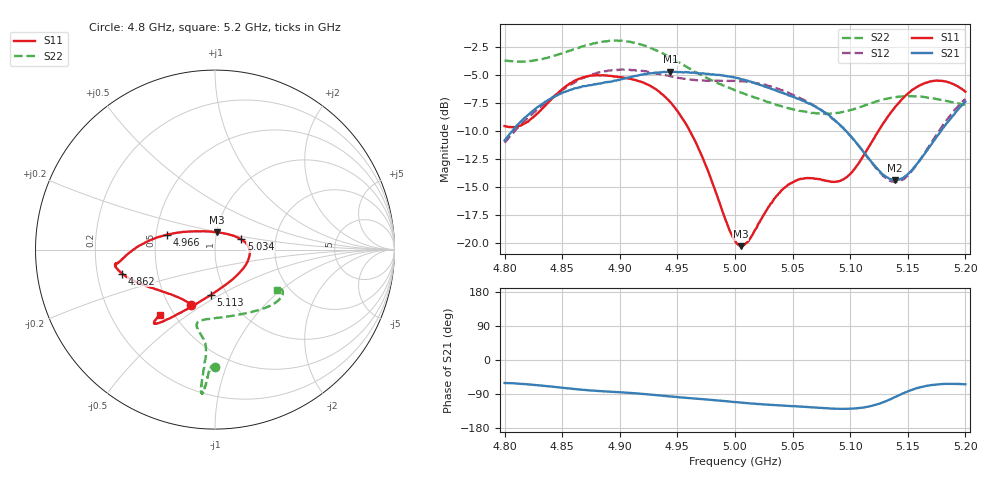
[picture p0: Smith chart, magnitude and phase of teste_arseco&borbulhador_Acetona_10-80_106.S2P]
! Network Analyzer HP8722D
! Hewlett-Packard
! Data name: Linha & Wilkinson
! Saver's name: Rodrigo Anjos
! Comments: Teste da utilização de aquisição
! continua pelo VNA HP8722D
! Time and date: 17/4/2025 15:14
!  Frequency  S11  S21  S12  S22
# HZ  S  MA R 50
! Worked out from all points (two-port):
!   401 points, 4.8 GHz to 5.2 GHz, reference 50 ohm
!   highest |S21| = -4.67 dB at 4.944 GHz (marker M1); lowest = -14.4 dB at 5.139 GHz (marker M2)
!   |S21| within 3 dB of the highest: 4.831 GHz to 5.067 GHz (236.3 MHz wide, 4.78 % of centre); 5.197071 GHz to end of sweep
!   lowest |S11| = -20.3 dB at 5.005 GHz (marker M3), VSWR 1.21, Z = 50 + j9.72 ohm
!   |S11| at or under -10 dB: 4.961 GHz to 5.124 GHz (163.3 MHz wide, 3.24 % of centre)
!   |S22| runs from -8.5 to -1.9 dB; largest |S21 - S12| = 0.87
!   S11 on the Smith chart (normalised r, x): 4.8 GHz: 0.65, -0.45; 4.862 GHz: 0.31, -0.12; 4.966 GHz: 0.57, +0.10; 5.034 GHz: 1.33, +0.16; 5.113 GHz: 0.84, -0.45; 5.2 GHz: 0.42, -0.39
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4.8e9  0.3335 -113.3  0.2876 -60.7  0.2809 -174.9  0.6555 -89.9
4.819e9  0.347 -133.1  0.3689 -63.9  0.3579 -173.5  0.6501 -91.5
4.862e9  0.5354 -165.5  0.4933 -77.1  0.5267 -176.8  0.742 -93.8
4.867e9  0.5483 -167.5  0.5013 -78.4  0.5447 -177.5  0.7571 -93.9
4.899e9  0.5528 -172.1  0.5359 -84.9  0.5958 175.6  0.8021 -95.2
4.934e9  0.4763 -178.1  0.5784 -93.5  0.5715 171.8  0.7173 -95.7
4.944e9  0.4262 177.4  0.5841 -96.2  0.5562 171.9  0.6756 -95.4
4.966e9  0.281 163.0  0.5758 -101.8  0.5351 173.8  0.5811 -94.9
5e9  0.1028 102.2  0.5504 -111.2  0.5317 176.3  0.482 -99.1
5.005e9  0.09674 84.7  0.5409 -112.4  0.5289 176.2  0.4708 -100.2
5.013e9  0.1043 58.9  0.528 -114.5  0.5241 176.0  0.4558 -102.0
5.034e9  0.1578 21.3  0.4849 -119.1  0.4962 175.0  0.4174 -103.5
5.048e9  0.1849 6.8  0.455 -121.5  0.4656 174.4  0.3995 -100.4
5.067e9  0.1949 -13.2  0.4147 -124.9  0.4173 173.7  0.3815 -90.8
5.093e9  0.1917 -57.6  0.3307 -128.8  0.3295 174.0  0.3848 -70.8
5.113e9  0.2527 -95.0  0.2505 -124.7  0.2503 179.9  0.4133 -55.0
5.134e9  0.3755 -116.2  0.1939 -104.8  0.1901 -157.6  0.4448 -42.9
5.139e9  0.406 -119.3  0.1909 -97.8  0.1876 -149.7  0.4495 -40.8
5.151e9  0.4704 -124.3  0.2052 -81.7  0.2031 -131.1  0.4545 -36.4
5.17e9  0.5285 -128.7  0.2742 -66.3  0.2792 -112.5  0.4456 -31.9
5.185e9  0.5244 -130.1  0.3486 -63.0  0.3617 -107.1  0.4308 -31.0
5.2e9  0.4753 -130.4  0.4286 -64.2  0.4413 -106.3  0.4148 -33.2
